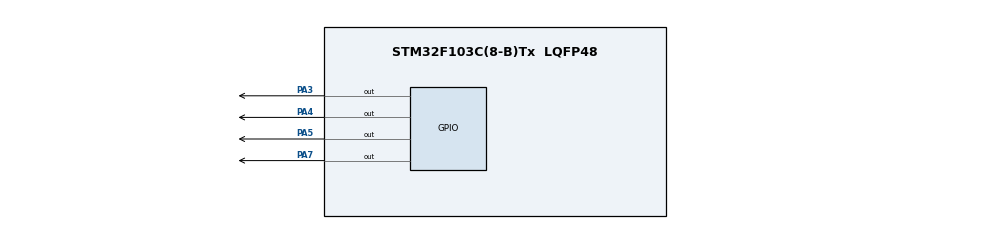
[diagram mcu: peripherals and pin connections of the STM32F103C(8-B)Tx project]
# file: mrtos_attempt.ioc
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Mcu.Family=STM32F1
Mcu.Name=STM32F103C(8-B)Tx
Mcu.Package=LQFP48
NVIC.PriorityGroup=NVIC_PRIORITYGROUP_4
NVIC.RCC_IRQn=true\:0\:0\:false\:false\:true\:true\:false\:true
PA13.Mode=Serial_Wire
PA13.Signal=SYS_JTMS-SWDIO
PA14.Mode=Serial_Wire
PA14.Signal=SYS_JTCK-SWCLK
PA3.Signal=GPIO_Output
PA4.Signal=GPIO_Output
PA5.Signal=GPIO_Output
PA7.Signal=GPIO_Output
PD0-OSC_IN.Mode=HSE-External-Oscillator
PD0-OSC_IN.Signal=RCC_OSC_IN
PD1-OSC_OUT.Mode=HSE-External-Oscillator
PD1-OSC_OUT.Signal=RCC_OSC_OUT
ProjectManager.HeapSize=0x200
ProjectManager.StackSize=0x400
ProjectManager.TargetToolchain=STM32CubeIDE
RCC.APB1Freq_Value=8000000
RCC.APB2Freq_Value=8000000
board=custom

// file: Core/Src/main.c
/* USER CODE BEGIN Header */
/**
  ******************************************************************************
  * @file           : main.c
  * @brief          : Main program body
  ******************************************************************************
  * @attention
  *
  * Copyright (c) 2024 STMicroelectronics.
  * All rights reserved.
  *
  * This software is licensed under terms that can be found in the LICENSE file
  * in the root directory of this software component.
  * If no LICENSE file comes with this software, it is provided AS-IS.
  *
  ******************************************************************************
  */
/* USER CODE END Header */
#include "main.h"

/* USER CODE BEGIN Includes */
#include "miros.h"
#include <string.h>
/* USER CODE END Includes */

/* USER CODE BEGIN PTD */
Mutex_t mutex1;
Mutex_t mutex2;
Mutex_t mutex3;

Event_Group_t  event_group_1;
#define BIT_1 (1U << 1)
#define BIT_2 (1U << 2)
#define BIT_3 (1U << 3)

OS_Queue_t mrtos_queue;
uint32_t buff[10];

Stream_Buffer_t  stream_buffer_1;
char tx_string[]= "fine";

uint8_t timer_test=0;
soft_timer_t soft_timer_1;
void Timer_Handler_1()
{
  timer_test ++;
}
/* USER CODE END PTD */

/* USER CODE BEGIN PD */
void OS_onIdle()
{
	HAL_GPIO_WritePin(GPIOA, GPIO_PIN_5, 1);
}
void OS_onStartup(void) {
    SystemCoreClockUpdate();
    SysTick_Config(SystemCoreClock / 1000);

    /* set the SysTick interrupt priority (highest) */
    NVIC_SetPriority(SysTick_IRQn, 0U);
}
uint32_t stack_blinky1[40];
OSThread blinky1;
void main_blinky1() {
//    OS_SoftwareTimer_Start(&soft_timer_1);
    while (1) {
//       HAL_GPIO_WritePin(GPIOA, GPIO_PIN_3, 1);
//       OS_Mutex_Get(&mutex1,30,1000);
//       HAL_GPIO_WritePin(GPIOA, GPIO_PIN_3, 0);
//       OS_delay(1000);
//       OS_Mutex_Release(&mutex1);

//		 HAL_GPIO_WritePin(GPIOA, GPIO_PIN_3, 1);
//		 OS_delay(1000);
//		 OS_Queue_Push(&mrtos_queue, 15,waitForever);
//		 HAL_GPIO_WritePin(GPIOA, GPIO_PIN_3, 0);
//		 OS_delay(1000);

//       HAL_GPIO_WritePin(GPIOA, GPIO_PIN_4, 0);
//		 OS_delay(1000);
//		 HAL_GPIO_WritePin(GPIOA, GPIO_PIN_4, 1);
//		 OS_EventGroup_SetBits(&event_group_1, BIT_1 | BIT_2 );
//		 OS_delay(1000);
//		 OS_EventGroup_SetBits(&event_group_1, BIT_3);

//      HAL_GPIO_WritePin(GPIOA, GPIO_PIN_4, 0);
//      OS_delay(1000);
//      //OS_Stream_Buffer_Send(&stream_buffer_1,tx_string,strlen(tx_string),waitForever);
//      HAL_GPIO_WritePin(GPIOA, GPIO_PIN_4, 1);
//      OS_delay(1000);
    }
}

uint32_t stack_blinky2[40];
OSThread blinky2;
uint32_t temp1;
uint8_t temp2;
char rx_string[100];
void main_blinky2() {
    while (1) {

//		HAL_GPIO_WritePin(GPIOA, GPIO_PIN_4, 1);
//		OS_delay(1000);
//		OS_Mutex_Get(&mutex1,30,5000);
//		OS_delay(1000);
//		OS_Mutex_Release(&mutex1);

//		 HAL_GPIO_WritePin(GPIOA, GPIO_PIN_4, 0);
//		 OS_Queue_Pop(&mrtos_queue, &temp1,100);
//		 OS_delay(100);
//		 HAL_GPIO_WritePin(GPIOA, GPIO_PIN_4, 1);
//		 OS_delay(1000);

//     	 HAL_GPIO_WritePin(GPIOA, GPIO_PIN_4, 0);
//		 OS_delay(1000);
//		 HAL_GPIO_WritePin(GPIOA, GPIO_PIN_4, 1);
//		 temp2=OS_EventGroup_WaitBits(&event_group_1, BIT_1 | BIT_2 |BIT_3,1,1,waitForever);
//		 OS_delay(1000);

//      HAL_GPIO_WritePin(GPIOA, GPIO_PIN_4, 0);
//      OS_delay(1000);
//      OS_Stream_Buffer_Receive(&stream_buffer_1,rx_string,6,0,1500);
//      HAL_GPIO_WritePin(GPIOA, GPIO_PIN_4, 1);
//      OS_delay(1000);
    }
}
uint32_t stack_idleThread[40];

/* USER CODE END PD */

void SystemClock_Config(void);
static void MX_GPIO_Init(void);

int main(void)
{

  /* MCU Configuration--------------------------------------------------------*/

  /* Reset of all peripherals, Initializes the Flash interface and the Systick. */
  HAL_Init();

  /* Configure the system clock */
  SystemClock_Config();

  /* Initialize all configured peripherals */
  	MX_GPIO_Init();
  /* USER CODE BEGIN 2 */
  	OS_init(stack_idleThread, sizeof(stack_idleThread));

      /* start blinky1 thread */
      OSThread_start(&blinky1,
                     2U, /* priority */
                     &main_blinky1,
                     stack_blinky1, sizeof(stack_blinky1));

      /* start blinky2 thread */
      OSThread_start(&blinky2,
                     5U, /* priority */
                     &main_blinky2,
                     stack_blinky2, sizeof(stack_blinky2));

//      OS_Binary_Semaphore_Init();

      OS_Mutex_Init(&mutex1);

      OS_Queue_Init(&mrtos_queue, buff, 10);

//      OS_SoftwareTimer_Init(&soft_timer_1,3000,Timer_Handler_1);

        OS_EventGroup_Init(&event_group_1);
//
//        OS_Stream_Buffer_Init(&stream_buffer_1,30,6);
      /* transfer control to the RTOS to run the threads */
      OS_run();
  /* USER CODE END 2 */

  /* Infinite loop */
  /* USER CODE BEGIN WHILE */

  /* USER CODE END 3 */
}

void SystemClock_Config(void)
{
  RCC_OscInitTypeDef RCC_OscInitStruct = {0};
  RCC_ClkInitTypeDef RCC_ClkInitStruct = {0};

  /** Initializes the RCC Oscillators according to the specified parameters
  * in the RCC_OscInitTypeDef structure.
  */
  RCC_OscInitStruct.OscillatorType = RCC_OSCILLATORTYPE_HSI;
  RCC_OscInitStruct.HSIState = RCC_HSI_ON;
  RCC_OscInitStruct.HSICalibrationValue = RCC_HSICALIBRATION_DEFAULT;
  RCC_OscInitStruct.PLL.PLLState = RCC_PLL_NONE;
  if (HAL_RCC_OscConfig(&RCC_OscInitStruct) != HAL_OK)
  {
    Error_Handler();
  }

  /** Initializes the CPU, AHB and APB buses clocks
  */
  RCC_ClkInitStruct.ClockType = RCC_CLOCKTYPE_HCLK|RCC_CLOCKTYPE_SYSCLK
                              |RCC_CLOCKTYPE_PCLK1|RCC_CLOCKTYPE_PCLK2;
  RCC_ClkInitStruct.SYSCLKSource = RCC_SYSCLKSOURCE_HSI;
  RCC_ClkInitStruct.AHBCLKDivider = RCC_SYSCLK_DIV1;
  RCC_ClkInitStruct.APB1CLKDivider = RCC_HCLK_DIV1;
  RCC_ClkInitStruct.APB2CLKDivider = RCC_HCLK_DIV1;

  if (HAL_RCC_ClockConfig(&RCC_ClkInitStruct, FLASH_LATENCY_0) != HAL_OK)
  {
    Error_Handler();
  }
}

static void MX_GPIO_Init(void)
{
  GPIO_InitTypeDef GPIO_InitStruct = {0};

  /* GPIO Ports Clock Enable */
  __HAL_RCC_GPIOD_CLK_ENABLE();
  __HAL_RCC_GPIOA_CLK_ENABLE();

  /*Configure GPIO pin Output Level */
  HAL_GPIO_WritePin(GPIOA, GPIO_PIN_3|GPIO_PIN_4|GPIO_PIN_5|GPIO_PIN_7, GPIO_PIN_RESET);

  /*Configure GPIO pins : PA3 PA4 PA5 PA7 */
  GPIO_InitStruct.Pin = GPIO_PIN_3|GPIO_PIN_4|GPIO_PIN_5|GPIO_PIN_7;
  GPIO_InitStruct.Mode = GPIO_MODE_OUTPUT_PP;
  GPIO_InitStruct.Pull = GPIO_NOPULL;
  GPIO_InitStruct.Speed = GPIO_SPEED_FREQ_LOW;
  HAL_GPIO_Init(GPIOA, &GPIO_InitStruct);

}

void Error_Handler(void)
{
  __disable_irq();
  while (1)
  {
  }
}
